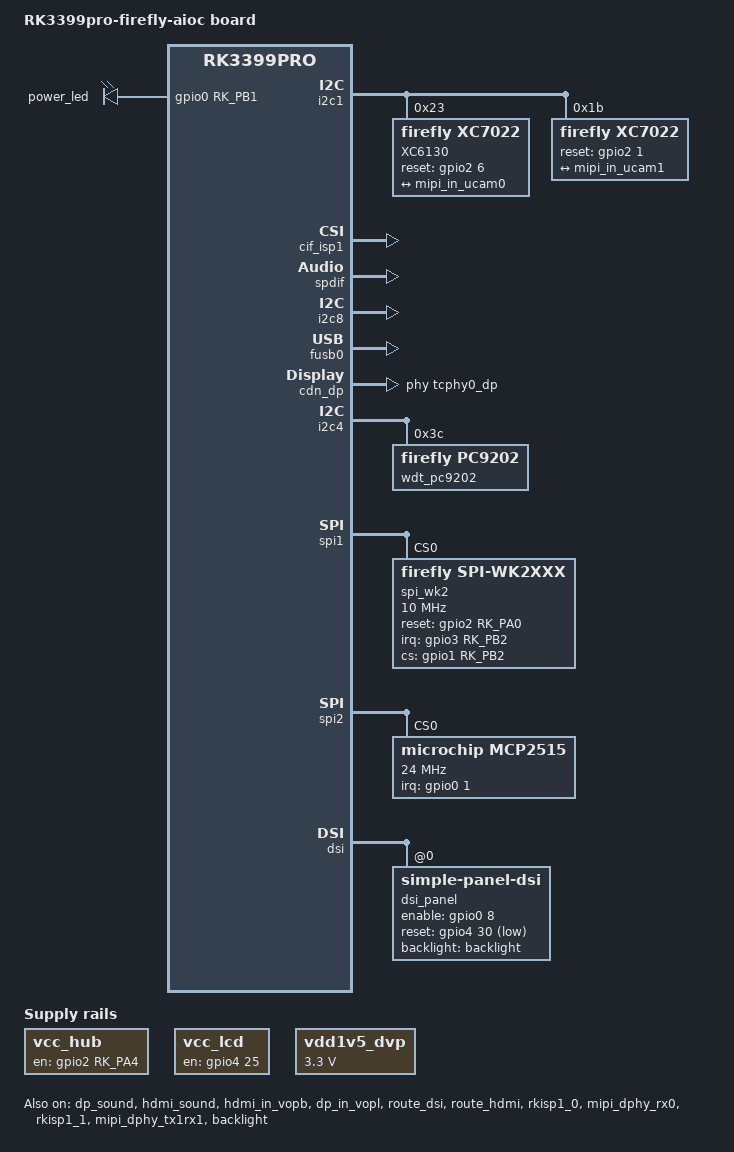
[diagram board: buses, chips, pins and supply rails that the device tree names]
/*
 * Copyright (c) 2016 Fuzhou Rockchip Electronics Co., Ltd
 *
 * This file is dual-licensed: you can use it either under the terms
 * of the GPL or the X11 license, at your option. Note that this dual
 * licensing only applies to this file, and not this project as a
 * whole.
 *
 *  a) This file is free software; you can redistribute it and/or
 *     modify it under the terms of the GNU General Public License as
 *     published by the Free Software Foundation; either version 2 of the
 *     License, or (at your option) any later version.
 *
 *     This file is distributed in the hope that it will be useful,
 *     but WITHOUT ANY WARRANTY; without even the implied warranty of
 *     MERCHANTABILITY or FITNESS FOR A PARTICULAR PURPOSE.  See the
 *     GNU General Public License for more details.
 *
 * Or, alternatively,
 *
 *  b) Permission is hereby granted, free of charge, to any person
 *     obtaining a copy of this software and associated documentation
 *     files (the "Software"), to deal in the Software without
 *     restriction, including without limitation the rights to use,
 *     copy, modify, merge, publish, distribute, sublicense, and/or
 *     sell copies of the Software, and to permit persons to whom the
 *     Software is furnished to do so, subject to the following
 *     conditions:
 *
 *     The above copyright notice and this permission notice shall be
 *     included in all copies or substantial portions of the Software.
 *
 *     THE SOFTWARE IS PROVIDED "AS IS", WITHOUT WARRANTY OF ANY KIND,
 *     EXPRESS OR IMPLIED, INCLUDING BUT NOT LIMITED TO THE WARRANTIES
 *     OF MERCHANTABILITY, FITNESS FOR A PARTICULAR PURPOSE AND
 *     NONINFRINGEMENT. IN NO EVENT SHALL THE AUTHORS OR COPYRIGHT
 *     HOLDERS BE LIABLE FOR ANY CLAIM, DAMAGES OR OTHER LIABILITY,
 *     WHETHER IN AN ACTION OF CONTRACT, TORT OR OTHERWISE, ARISING
 *     FROM, OUT OF OR IN CONNECTION WITH THE SOFTWARE OR THE USE OR
 *     OTHER DEALINGS IN THE SOFTWARE.
 */

/dts-v1/;
#include "rk3399pro-firefly-port.dtsi"
#include "rk3399pro-firefly-pcie.dtsi"
#include <dt-bindings/display/media-bus-format.h>

/ {
	model = "RK3399pro-firefly-aioc board";
	compatible = "rockchip,rk3399pro-firefly-aioc", "rockchip,rk3399pro";

	usbacm_video_control: usbacm-video-control {
		compatible = "rockchip,usbacm-video-control";
		status = "disabled";
	};

	/delete-node/ vcc5v0-typec;
	mcp251x_clk: mcp251x-clk {
        	compatible = "fixed-clock";
        	#clock-cells = <0>;
        	clock-frequency = <8000000>;        //MCP2515_CAN模块的晶振为8MHz
        };

	vcc_hub: vcc-hub-regulator {
			compatible = "regulator-fixed";
			enable-active-high;
			regulator-always-on;
			regulator-boot-on;
			gpio = <&gpio2 RK_PA4 GPIO_ACTIVE_HIGH>;
			pinctrl-names = "default";
			pinctrl-0 = <&hub_drv>;
			regulator-name = "vcc_hub";
	};

	vcc_lcd: vcc-lcd {
		compatible = "regulator-fixed";
		enable-active-high;
		regulator-always-on;
		regulator-boot-on;
		gpio = <&gpio4 25 GPIO_ACTIVE_HIGH>;	//GPIO4_D1
		pinctrl-names = "default";
		regulator-name = "vcc_lcd";
		pinctrl-0 = <&lcd_panel_lcd_en>;
	};
};


&i2c1 {
	status = "okay";
	i2c-scl-rising-time-ns = <300>;
	i2c-scl-falling-time-ns = <15>;

	/delete-node/ ov13850@36;
	/delete-node/ ov13850@46;

	//cam0
	XC6130: XC6130@46{
		status = "okay";
		compatible = "firefly,xc7022";
		reg = <0x23>;
		reset-gpios = <&gpio2 6 GPIO_ACTIVE_HIGH>;
		pinctrl-names = "default";
		pinctrl-0 = <&xc6130_reset_pin>;

		port {
			ucam_out0: endpoint {
				remote-endpoint = <&mipi_in_ucam0>;
				data-lanes = <1 2>;
			};
		};
	};

	//cam1
	XC7022: XC7022@36{
		status = "okay";
		compatible = "firefly,xc7022";
		reg = <0x1b>;
		reset-gpios = <&gpio2 1 GPIO_ACTIVE_HIGH>;
		pinctrl-names = "default";
		pinctrl-0 = <&xc7022_reset_pin>;

		port {
			ucam_out1: endpoint {
				remote-endpoint = <&mipi_in_ucam1>;
				data-lanes = <1 2>;
			};
		};
	};


};


&cif_isp1 {
    status = "okay";
};

&dp_sound {
	status = "okay";
};

&hdmi_sound {
	status = "okay";
};

&spdif {
       status = "okay";
};

&hdmi_in_vopl {
	status = "disabled";
};

&hdmi_in_vopb {
	status = "okay";
};

&dp_in_vopb {
	status = "disabled";
};

&dp_in_vopl {
	status = "okay";
};

&route_dsi {
	status = "okay";
};

&route_hdmi {
        status = "okay";
        logo,mode = "center";
};

&vopb {
    assigned-clocks = <&cru DCLK_VOP0_DIV>;
    assigned-clock-parents = <&cru PLL_VPLL>;
};
&vopl {
    assigned-clocks = <&cru DCLK_VOP1_DIV>;
    assigned-clock-parents = <&cru PLL_CPLL>;
};

// DP
&i2c8 {
	status = "okay";
};

&fusb0 {
	status = "okay";
};

&vcc5v0_host {
       gpio = <&gpio2 RK_PA2 GPIO_ACTIVE_HIGH>;
};

&cdn_dp {
        status = "okay";
        extcon = <&fusb0>;
        phys = <&tcphy0_dp>;
};

// mipi csi
/*
&ov13850 {
	status = "disabled";
};

&ov13850_1 {
	status = "disabled";
};
*/

&vcc_mipi {
	status = "disabled";
};

&dvdd_1v2 {
	status = "disabled";
};

&rkisp1_0 {
	status = "okay";
};

&mipi_dphy_rx0 {
	status = "okay";
};

&isp0_mmu {
	status = "okay";
};

&rkisp1_1 {
	status = "okay";
};

&mipi_dphy_tx1rx1 {
	status = "okay";
};

&isp1_mmu {
	status = "okay";
};

&i2c4 {
	status = "okay";
	i2c-scl-rising-time-ns = <345>;
	i2c-scl-falling-time-ns = <11>;

};


// LED
&power_led {
	gpios = <&gpio0 RK_PB1 GPIO_ACTIVE_HIGH>;
};

&led_power {
        rockchip,pins = <0 RK_PB1 RK_FUNC_GPIO &pcfg_pull_none>;
};


&pcie0 {
	/delete-property/ gpio;
};

&vcc3v3_3g {
	gpio = <&gpio3 RK_PD6 GPIO_ACTIVE_HIGH>;
};

&pcie_3g_drv {
	rockchip,pins =<3 RK_PD6 RK_FUNC_GPIO &pcfg_pull_up>;
};



/* spi to uart */
&uart4 {
    status = "disabled";
};

&spi1 {
        status = "okay";
	max-freq = <48000000>;
	dev-port = <0>;
	spi_wk2@00{
        	status = "okay";
        	compatible = "firefly,spi-wk2xxx";
        	reg = <0x00>;
        	spi-max-frequency = <10000000>;
        	reset-gpio = <&gpio2 RK_PA0 GPIO_ACTIVE_HIGH>;
        	irq-gpio = <&gpio3 RK_PB2 IRQ_TYPE_EDGE_FALLING>;
        	cs-gpio = <&gpio1 RK_PB2 GPIO_ACTIVE_HIGH>;
	};
};

&spi2 {
        status = "okay";
	spi_wk2xxx@00{
		status = "disabled";
	};
	mcp2515: can@00 {
		status = "okay";
		compatible = "microchip,mcp2515";
		reg = <0x00>;
		clocks = <&mcp251x_clk>;
		interrupt-parent = <&gpio0>;
		interrupts = <1 IRQ_TYPE_EDGE_FALLING>;
		spi-max-frequency = <24000000>;
		pinctrl-names = "default";
		pinctrl-0 = <&can0_pins>;
		poll_mode = <0>;
		enable_dma = <1>;
	};
};

&rk809_codec {
	hp-det = <&gpio0 RK_PB5 GPIO_ACTIVE_HIGH>;
	spk-ctl = <&gpio2 RK_PA5 GPIO_ACTIVE_HIGH>;
	hp-ctl-gpios = <&gpio3 RK_PD7 GPIO_ACTIVE_HIGH>;
	io-channels = <0>;
};

&spk_ctl_gpio {
	rockchip,pins = <2 RK_PA5 RK_FUNC_GPIO &pcfg_pull_up_20ma>;
};


&vdd1v5_dvp {
	regulator-min-microvolt = <3300000>;
	regulator-max-microvolt = <3300000>;
};

&i2c4 {
	status = "okay";

    wdt_pc9202: wdt-pc9202@3c {
        status = "okay";
        compatible = "firefly,pc9202";
        reg = <0x3c>;
    };
};

&pinctrl {
	hub {
			hub_drv: hub-drv {
		rockchip,pins =
			<2 RK_PA4 RK_FUNC_GPIO &pcfg_pull_up>;
			};
	};

	can0 {
			can0_pins: can0-pins {
		rockchip,pins =
			<0 RK_PA1 RK_FUNC_GPIO &pcfg_pull_none>;
			};
	};
	usb2 {
			host_vbus_drv: host-vbus-drv {
					rockchip,pins =
							<2 RK_PA2 RK_FUNC_GPIO &pcfg_pull_none>;
			};
	};

	camera-pins{
		xc7022_reset_pin: xc7022-reset-pin{
			rockchip,pins = <2 1 RK_FUNC_GPIO &pcfg_pull_none>;
		};

		xc6130_reset_pin: xc6130-reset-pin{
			rockchip,pins = <2 6 RK_FUNC_GPIO &pcfg_pull_none>;
		};
	};
};



&backlight {
        status = "okay";
        pwms = <&pwm0 0 25000 1>;
        enable-gpios = <&gpio4 29 GPIO_ACTIVE_HIGH>;		//GPIO4_D5
        default-brightness-level = <200>;
        polarity = <1>;
        brightness-levels = </*
                          0   1   2   3   4   5   6   7
                          8   9  10  11  12  13  14  15
                         16  17  18  19  20  21  22  23
                         24  25  26  27  28  29  30  31
                         32  33  34  35*/36  37  38  39
                         40  41  42  43  44  45  46  47
                         48  49  50  51  52  53  54  55
                         56  57  58  59  60  61  62  63
                         64  65  66  67  68  69  70  71
                         72  73  74  75  76  77  78  79
                         80  81  82  83  84  85  86  87
                         88  89  90  91  92  93  94  95
                         96  97  98  99 100 101 102 103
                        104 105 106 107 108 109 110 111
                        112 113 114 115 116 117 118 119
                        120 121 122 123 124 125 126 127
                        128 129 130 131 132 133 134 135
                        136 137 138 139 140 141 142 143
                        144 145 146 147 148 149 150 151
                        152 153 154 155 156 157 158 159
                        160 161 162 163 164 165 166 167
                        168 169 170 171 172 173 174 175
                        176 177 178 179 180 181 182 183
                        184 185 186 187 188 189 190 191
                        192 193 194 195 196 197 198 199
                        200 201 202 203 204 205 206 207
                        208 209 210 211 212 213 214 215
                        216 217 218 219 220 221 222 223
                        224 225 226 227 228 229 230 231
                        232 233 234 235 236 237 238 239
                        240 241 242 243 244 245 246 247
                        248 249 250 251 252 253 254 255>;
};


&dsi {
	status = "okay";
	rockchip,lane-rate = <800>;
	dsi_panel: panel {
		compatible ="simple-panel-dsi";
		reg = <0>;
		backlight = <&backlight>;
		enable-gpios = <&gpio0 8 GPIO_ACTIVE_HIGH>;		//GPIO0_B0
		reset-gpios = <&gpio4 30 GPIO_ACTIVE_LOW>;		//GPIO4_D6
		pinctrl-0 = <&lcd_panel_pwr_en &lcd_panel_reset >;
		dsi,flags = <(MIPI_DSI_MODE_VIDEO | MIPI_DSI_MODE_VIDEO_BURST | MIPI_DSI_MODE_LPM | MIPI_DSI_MODE_EOT_PACKET)>;
		dsi,format = <MIPI_DSI_FMT_RGB888>;
		bus-format = <MEDIA_BUS_FMT_RGB666_1X18>;
		dsi,lanes = <4>;
		dsi,channel = <0>;
		enable-delay-ms = <35>;
		prepare-delay-ms = <6>;
		unprepare-delay-ms = <0>;
		disable-delay-ms = <20>;
		size,width = <120>;
		size,height = <170>;
		status = "okay";

		panel-init-sequence = [
			29 02 06 3C 01 09 00 07 00
			29 02 06 14 01 06 00 00 00
			29 02 06 64 01 0B 00 00 00
			29 02 06 68 01 0B 00 00 00
			29 02 06 6C 01 0B 00 00 00
			29 02 06 70 01 0B 00 00 00
			29 02 06 34 01 1F 00 00 00
			29 02 06 10 02 1F 00 00 00
			29 02 06 04 01 01 00 00 00
			29 02 06 04 02 01 00 00 00
			29 02 06 50 04 20 01 F0 03
			29 02 06 54 04 19 00 5A 00
			29 02 06 58 04 20 03 24 00
			29 02 06 5C 04 0A 00 19 00
			29 02 06 60 04 00 05 0A 00
			29 02 06 64 04 01 00 00 00
			29 02 06 A0 04 06 80 44 00

			29 02 06 A0 04 06 80 04 00
			29 02 06 04 05 04 00 00 00
			29 02 06 80 04 00 01 02 03
			29 02 06 84 04 04 07 05 08
			29 02 06 88 04 09 0A 0E 0F
			29 02 06 8C 04 0B 0C 0D 10
			29 02 06 90 04 16 17 11 12
			29 02 06 94 04 13 14 15 1B
			29 02 06 98 04 18 19 1A 06
			/*
			29 02 06 80 04 1A 1A 1A 1A
			29 02 06 84 04 1A 19 1A 1A
			29 02 06 88 04 18 18 19 19
			29 02 06 8C 04 18 18 18 18
			29 02 06 90 04 19 19 18 12
			29 02 06 94 04 13 14 15 19
			29 02 06 98 04 18 19 1A 19
			*/
			29 02 06 9C 04 31 04 00 00
		];

		panel-exit-sequence = [
			05 05 01 28
			05 78 01 10
		];

		disp_timings: display-timings {
			native-mode = <&timing0>;
			timing0: timing0 {
				clock-frequency = <166000000>;
				hactive = <800>;
				vactive = <1280>;
				hsync-len = <10>;
				hback-porch = <100>;
				hfront-porch = <1580>;
				vsync-len = <10>;
				vback-porch = <25>;
				vfront-porch = <10>;
				hsync-active = <0>;
				vsync-active = <0>;
				de-active = <0>;
				pixelclk-active = <0>;
			};
		};
	};
};



&pinctrl {
    lcd-panel {
        lcd_panel_reset: lcd-panel-reset {
            rockchip,pins = <4 30 RK_FUNC_GPIO &pcfg_pull_down>;		//GPIO4_D6
        };

        lcd_panel_pwr_en: lcd-panel-pwr-en {
            rockchip,pins = <0 8 RK_FUNC_GPIO &pcfg_pull_down>;			//GPIO0_B0
        };

        lcd_panel_lcd_en:lcd_panel_lcd_en {
            rockchip,pins = <4 25 RK_FUNC_GPIO &pcfg_pull_down>; 	//GPIO4_D1
        };
    };
};

